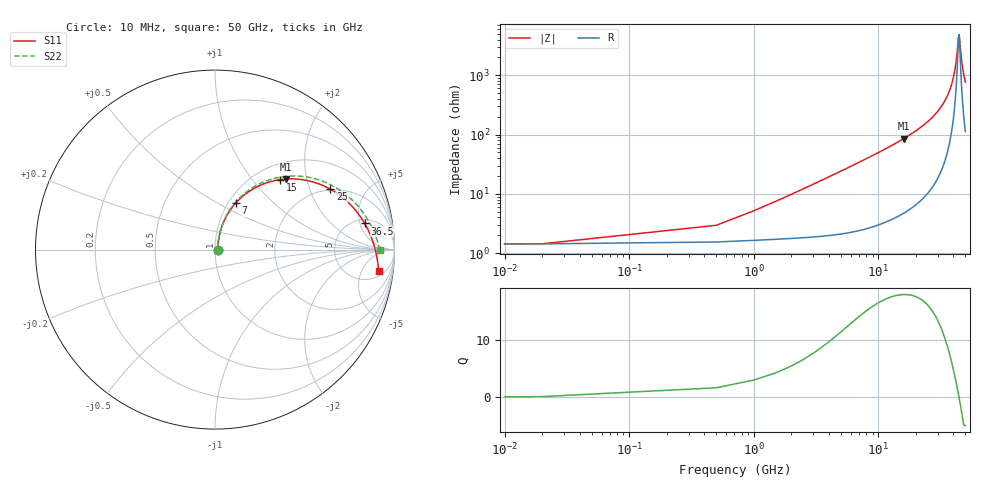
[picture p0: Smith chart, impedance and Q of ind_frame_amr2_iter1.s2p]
! Created with skrf 2.2.0 (http://scikit-rf.org).
# GHz S DB R 50.0
! Port[1] = P1
! Port[2] = P2
!freq dBS11 angS11 dBS21 angS21 dBS12 angS12 dBS22 angS22
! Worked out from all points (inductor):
!   102 points, 10 MHz to 50 GHz, reference 50 ohm
!   read as 1/Y11, port 2 shorted: L = 768 pH near 1.5 GHz
!   highest Q = 18 at 16 GHz (marker M1), where L = 850 pH
!   self-resonance near 44 GHz
!   S11 on the Smith chart (normalised r, x): 10 MHz: 1.03, +0.00; 7 GHz: 1.08, +0.61; 15 GHz: 1.28, +1.40; 25 GHz: 1.97, +2.80; 36.5 GHz: 5.81, +5.97; 50 GHz: 7, -11
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0.01  -36.99 2.0  -0.12 -0.0  -0.12 -0.0  -36.99 2.0
0.5  -31.42 54.2  -0.14 -1.6  -0.14 -1.6  -31.42 54.3
1  -26.73 67.0  -0.15 -3.1  -0.15 -3.1  -26.72 67.1
1.5  -23.58 71.5  -0.17 -4.5  -0.17 -4.5  -23.58 71.6
2  -21.24 73.2  -0.19 -6.0  -0.19 -6.0  -21.24 73.4
3  -17.86 73.6  -0.25 -8.8  -0.25 -8.8  -17.87 74.0
4  -15.46 72.4  -0.31 -11.7  -0.31 -11.7  -15.47 72.8
5.5  -12.83 69.4  -0.43 -15.9  -0.43 -15.9  -12.84 70.0
7  -10.90 65.9  -0.59 -19.9  -0.59 -19.9  -10.91 66.7
8.5  -9.40 62.2  -0.77 -23.9  -0.77 -23.9  -9.41 63.3
11.5  -7.20 55.0  -1.19 -31.4  -1.19 -31.4  -7.21 56.4
15  -5.46 47.0  -1.78 -39.4  -1.78 -39.4  -5.47 48.9
16  -5.07 44.8  -1.96 -41.5  -1.96 -41.5  -5.08 46.8
17  -4.71 42.7  -2.14 -43.6  -2.14 -43.6  -4.72 44.9
20.5  -3.70 35.7  -2.82 -50.5  -2.82 -50.5  -3.72 38.4
25  -2.78 27.6  -3.72 -58.5  -3.72 -58.5  -2.79 30.8
25.5  -2.70 26.7  -3.83 -59.4  -3.83 -59.4  -2.71 30.0
29.5  -2.13 20.2  -4.66 -65.7  -4.66 -65.7  -2.14 24.1
33.5  -1.70 14.2  -5.51 -71.6  -5.51 -71.6  -1.71 18.7
36.5  -1.45 9.9  -6.16 -75.7  -6.16 -75.7  -1.46 14.9
42  -1.09 2.5  -7.38 -82.7  -7.38 -82.7  -1.10 8.4
50  -0.73 -7.6  -9.24 -92.1  -9.24 -92.1  -0.74 -0.3
